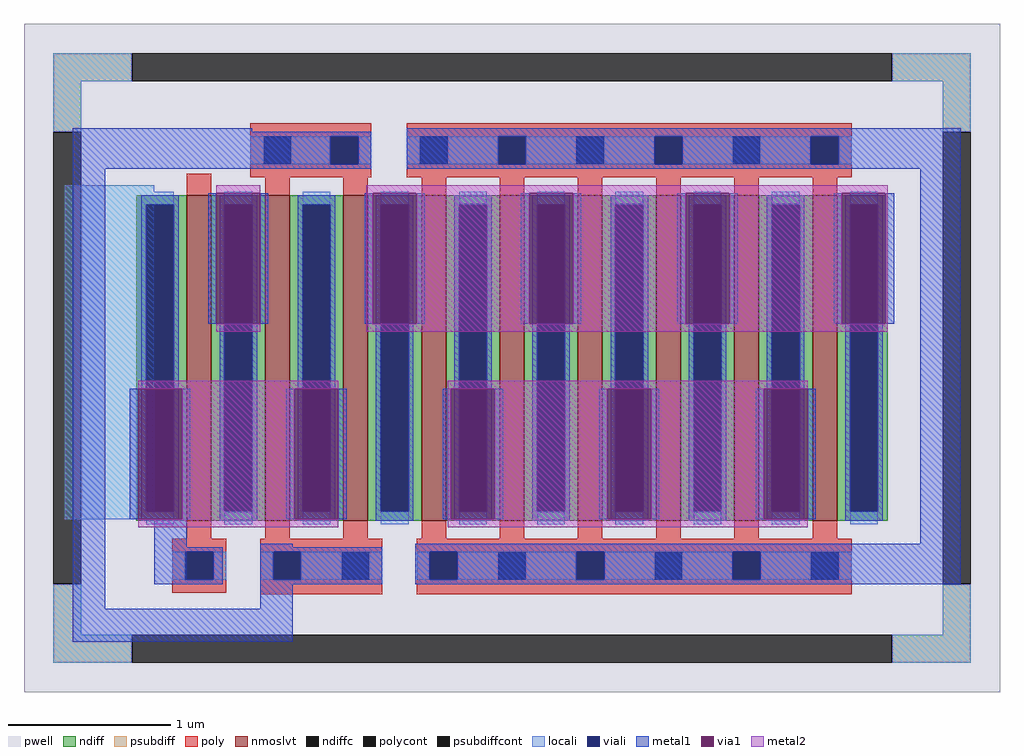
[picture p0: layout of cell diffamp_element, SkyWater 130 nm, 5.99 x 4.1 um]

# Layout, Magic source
magic
tech sky130A
magscale 1 2
<< pwell >>
rect 748 896 846 906
rect 698 850 846 896
rect 748 840 846 850
rect 890 840 1436 906
rect 710 328 860 396
rect 902 328 1436 396
<< poly >>
rect 748 896 846 906
rect 698 890 846 896
rect 698 856 796 890
rect 830 856 846 890
rect 698 850 846 856
rect 748 840 846 850
rect 890 890 1436 906
rect 890 856 1002 890
rect 1036 856 1194 890
rect 1228 856 1386 890
rect 1420 856 1436 890
rect 890 840 1436 856
rect 710 380 860 396
rect 710 346 726 380
rect 760 346 860 380
rect 710 328 860 346
rect 902 380 1436 396
rect 902 346 918 380
rect 952 346 1098 380
rect 1132 346 1290 380
rect 1324 346 1436 380
rect 902 328 1436 346
<< polycont >>
rect 796 856 830 890
rect 1002 856 1036 890
rect 1194 856 1228 890
rect 1386 856 1420 890
rect 726 346 760 380
rect 918 346 952 380
rect 1098 346 1132 380
rect 1290 346 1324 380
<< locali >>
rect 698 856 796 890
rect 830 856 846 890
rect 890 856 1002 890
rect 1036 856 1194 890
rect 1228 856 1386 890
rect 1420 856 1436 890
rect 470 420 580 830
rect 710 346 726 380
rect 760 346 860 380
rect 902 346 918 380
rect 952 346 1098 380
rect 1132 346 1290 380
rect 1324 346 1436 380
<< viali >>
rect 796 856 830 890
rect 1002 856 1036 890
rect 1194 856 1228 890
rect 1386 856 1420 890
rect 726 346 760 380
rect 918 346 952 380
rect 1098 346 1132 380
rect 1290 346 1324 380
<< metal1 >>
rect 480 896 700 900
rect 480 890 846 896
rect 480 856 796 890
rect 830 856 846 890
rect 480 850 846 856
rect 890 890 1570 900
rect 890 856 1002 890
rect 1036 856 1194 890
rect 1228 856 1386 890
rect 1420 856 1570 890
rect 890 850 1570 856
rect 480 310 520 850
rect 646 660 656 820
rect 710 660 720 820
rect 838 660 848 820
rect 902 660 912 820
rect 1030 660 1040 820
rect 1094 660 1104 820
rect 1222 660 1232 820
rect 1286 660 1296 820
rect 1414 660 1424 820
rect 1478 660 1488 820
rect 550 420 560 580
rect 614 420 624 580
rect 742 420 752 580
rect 806 420 816 580
rect 934 420 944 580
rect 998 420 1008 580
rect 1126 420 1136 580
rect 1190 420 1200 580
rect 1318 420 1328 580
rect 1382 420 1392 580
rect 580 340 620 420
rect 1520 390 1570 850
rect 710 386 750 390
rect 710 380 860 386
rect 710 346 726 380
rect 760 346 860 380
rect 710 340 860 346
rect 900 380 1570 390
rect 900 346 918 380
rect 952 346 1098 380
rect 1132 346 1290 380
rect 1324 346 1570 380
rect 900 340 1570 346
rect 710 310 750 340
rect 480 270 750 310
<< via1 >>
rect 656 660 710 820
rect 848 660 902 820
rect 1040 660 1094 820
rect 1232 660 1286 820
rect 1424 660 1478 820
rect 560 420 614 580
rect 752 420 806 580
rect 944 420 998 580
rect 1136 420 1190 580
rect 1328 420 1382 580
<< metal2 >>
rect 656 820 710 830
rect 656 650 710 660
rect 840 820 1480 830
rect 840 660 848 820
rect 902 660 1040 820
rect 1094 660 1232 820
rect 1286 660 1424 820
rect 1478 660 1480 820
rect 840 650 1480 660
rect 560 580 806 590
rect 614 420 752 580
rect 560 410 806 420
rect 940 580 1382 590
rect 940 420 944 580
rect 998 420 1136 580
rect 1190 420 1328 580
rect 940 410 1382 420
use sky130_fd_pr__nfet_01v8_lvt_DG2JGC  sky130_fd_pr__nfet_01v8_lvt_DG2JGC_0
transform 1 0 1019 0 1 618
box -599 -410 599 410
<< end >>

# cell sky130_fd_pr__nfet_01v8_lvt_DG2JGC: kit device sky130_fd_pr__nfet_01v8_lvt, w 2 l 0.150 m 1 nf 9 diffcov 100 polycov 100 guard 1 glc 1 grc 1 gtc 1 gbc 1 tbcov 100 rlcov 100 topc 1 botc 1 poverlap 0 doverlap 1 lmin 0.15 wmin 0.42 compatible {sky130_fd_pr__nfet_01v8 sky130_fd_pr__nfet_01v8_lvt sky130_fd_bs_flash__special_sonosfet_star sky130_fd_pr__nfet_g5v0d10v5 sky130_fd_pr__nfet_05v0_nvt sky130_fd_pr__nfet_03v3_nvt} full_metal 1 viasrc 100 viadrn 100 viagate 100 viagb 0 viagr 0 viagl 0 viagt 0
